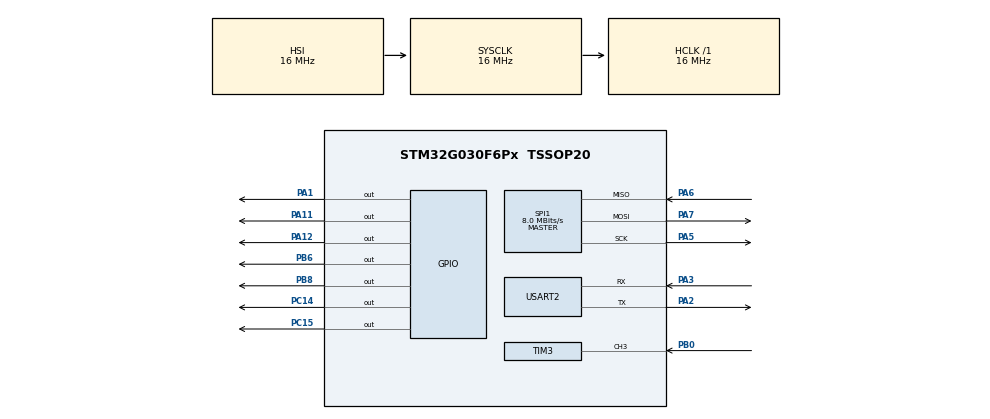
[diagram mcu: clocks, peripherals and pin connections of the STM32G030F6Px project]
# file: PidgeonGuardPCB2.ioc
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Mcu.Family=STM32G0
Mcu.Name=STM32G030F6Px
Mcu.Package=TSSOP20
NVIC.TIM3_IRQn=true\:0\:0\:false\:false\:true\:true\:true\:true
PA0.Mode=SYS_WakeUp0
PA0.Signal=SYS_WKUP1
PA1.Signal=GPIO_Output
PA11\ [PA9].Signal=GPIO_Output
PA12\ [PA10].Signal=GPIO_Output
PA13.Mode=Serial_Wire
PA13.Signal=SYS_SWDIO
PA14-BOOT0.Mode=Serial_Wire
PA14-BOOT0.Signal=SYS_SWCLK
PA14-BOOT0__PA15.StandardMode=true
PA2.Mode=Asynchronous
PA2.Signal=USART2_TX
PA3.Mode=Asynchronous
PA3.Signal=USART2_RX
PA4.Signal=SPI1_NSS
PA5.Mode=Full_Duplex_Master
PA5.Signal=SPI1_SCK
PA6.Mode=Full_Duplex_Master
PA6.Signal=SPI1_MISO
PA7.Mode=Full_Duplex_Master
PA7.Signal=SPI1_MOSI
PB0.Signal=S_TIM3_CH3
PB0__PB1__PB2__PA8.StandardMode=true
PB3__PB4__PB5__PB6.StandardMode=true
PB6.Signal=GPIO_Output
PB7__PB8.StandardMode=true
PB8.Signal=GPIO_Output
PC14-OSC32_IN\ (PC14).Signal=GPIO_Output
PC14-OSC32_IN\ (PC14)__PB9.StandardMode=true
PC15-OSC32_OUT\ (PC15).Signal=GPIO_Output
ProjectManager.HeapSize=0x200
ProjectManager.StackSize=0x400
ProjectManager.TargetToolchain=STM32CubeIDE
RCC.ADCFreq_Value=16000000
RCC.AHBFreq_Value=16000000
RCC.CortexFreq_Value=16000000
RCC.EXTERNAL_CLOCK_VALUE=12288000
RCC.HCLKFreq_Value=16000000
RCC.HSE_VALUE=8000000
RCC.HSI_VALUE=16000000
RCC.LSE_VALUE=32768
RCC.SYSCLKFreq_VALUE=16000000
RCC.VCOOutputFreq_Value=128000000
SH.S_TIM3_CH3.0=TIM3_CH3,Input_Capture3_from_TI3
SPI1.CalculateBaudRate=8.0 MBits/s
SPI1.Direction=SPI_DIRECTION_2LINES
SPI1.Mode=SPI_MODE_MASTER
SPI1.VirtualType=VM_MASTER
TIM3.Channel-Input_Capture3_from_TI3=TIM_CHANNEL_3
TIM3.Prescaler=16-1
USART2.VirtualMode-Asynchronous=VM_ASYNC
VP_FATFS_VS_Generic.Mode=User_defined
VP_RTC_VS_RTC_Activate.Mode=RTC_Enabled
board=custom

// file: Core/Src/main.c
/* USER CODE BEGIN Header */
/**
  ******************************************************************************
  * @file           : main.c
  * @brief          : Main program body
  ******************************************************************************
  * @attention
  *
  * Copyright (c) 2026 STMicroelectronics.
  * All rights reserved.
  *
  * This software is licensed under terms that can be found in the LICENSE file
  * in the root directory of this software component.
  * If no LICENSE file comes with this software, it is provided AS-IS.
  *
  ******************************************************************************
  */
/* USER CODE END Header */
#include "main.h"
#include "app_fatfs.h"

/* USER CODE BEGIN Includes */
#include "stdio.h"
/* USER CODE END Includes */

/* USER CODE BEGIN PD */
#define DEBUG_FLAG

#define TIM3_MAX_VALUE  0x0000FFFFU
#define LOGS_BUFFER_MAX_VALUE 26U

#define SMOTOR124_PORT GPIOA
#define SMOTOR3_PORT GPIOB
#define SMOTOR_INI1_PIN GPIO_PIN_11
#define SMOTOR_INI2_PIN GPIO_PIN_12
#define SMOTOR_INI3_PIN GPIO_PIN_8
#define SMOTOR_INI4_PIN GPIO_PIN_1

#define PUMP_PORT GPIOC
#define PUMP_PIN GPIO_PIN_15

#define HC_TRIG_PORT GPIOB
#define HC_TRIG_PIN GPIO_PIN_6

#define PWR_INIT_PORT GPIOC
#define PWR_INIT_PIN GPIO_PIN_14
/* USER CODE END PD */

RTC_HandleTypeDef hrtc;

SPI_HandleTypeDef hspi1;

TIM_HandleTypeDef htim3;

UART_HandleTypeDef huart2;

/* USER CODE BEGIN PV */
RTC_TimeTypeDef sTime;
RTC_DateTypeDef sDate;

/* USER CODE END PV */

void SystemClock_Config(void);
static void MX_GPIO_Init(void);
static void MX_SPI1_Init(void);
static void MX_USART2_UART_Init(void);
static void MX_RTC_Init(void);
static void MX_TIM3_Init(void);
/* USER CODE BEGIN PFP */

static void peripheralsOn(void);
static void peripheralsOff(void);
static void sprayWater(void);

static void logToSD(char logBuffer[]);

static void controlSMotor(int32_t stepNumber, uint8_t direction);
static void startDistanceMeasurement(void);
static void scanRight(void);	// ???
static void scanLeft(void);	// ???
static void calibrateDistance(void);
static void lookForTarget(void);
static void calculateDistance(void);

/* USER CODE END PFP */

/* USER CODE BEGIN 0 */
volatile uint32_t l_hcrs04Ticks1, l_hcrs04Ticks2;
volatile uint8_t l_hcrs04TimeCaptured = 0;
volatile uint32_t distance_L;

uint8_t message[64];
uint32_t mappedSourrounding[60];

FATFS FatFs;
FIL Fil;
FRESULT FR_Status;
FATFS *FS_Ptr;
UINT RWC, WWC; // Read/Write Word Counter
DWORD FreeClusters;
uint32_t TotalSize, FreeSpace;
char RW_Buffer[200];

/* USER CODE END 0 */

int main(void)
{

  /* MCU Configuration--------------------------------------------------------*/

  /* Reset of all peripherals, Initializes the Flash interface and the Systick. */
  HAL_Init();

  /* Configure the system clock */
  SystemClock_Config();

  /* Initialize all configured peripherals */
  MX_GPIO_Init();
  MX_SPI1_Init();
  MX_USART2_UART_Init();
  if (MX_FATFS_Init() != APP_OK) {
    Error_Handler();
  }
  MX_RTC_Init();
  MX_TIM3_Init();
  /* USER CODE BEGIN 2 */

  // Enable interrupts for input capture timers for both HC-SR04
    HAL_TIM_IC_Start_IT(&htim3, TIM_CHANNEL_3);	// TODO: ten tim3?
    //HCSR04_Init(&htim3, GPIOC, GPIO_PIN_6);

    HAL_NVIC_EnableIRQ(TIM3_IRQn);

    HAL_PWR_EnableWakeUpPin(PWR_WAKEUP_PIN1_LOW);	// TODO: ten pin?

  /* USER CODE END 2 */

  /* Infinite loop */
  /* USER CODE BEGIN WHILE */

    //SD_Card_Test();
    //HCSR04_Init(&htim3, GPIOC, GPIO_PIN_6);
  if(HAL_RTCEx_BKUPRead(&hrtc, RTC_BKP_DR1) != 0xBEEF){
    sTime.Hours = 21;
    sTime.Minutes = 37;
    sTime.Seconds = 0;

    HAL_RTC_SetTime(&hrtc, &sTime, RTC_FORMAT_BIN);

    sDate.WeekDay = RTC_WEEKDAY_MONDAY;
    sDate.Month = RTC_MONTH_APRIL;
    sDate.Date = 8;
    sDate.Year = 26;

    HAL_RTC_SetDate(&hrtc, &sDate, RTC_FORMAT_BIN);

    HAL_RTCEx_BKUPWrite(&hrtc, RTC_BKP_DR1, 0xBEEF);
  }

  peripheralsOn();
  HAL_Delay(10);	// wait for power to stabilize

  logToSD("WKUP:");
  calibrateDistance();	// TODO: Calibration should be done only once

  while (1)
  {
	  /*
	   * 	---- 1
	   * 	1) Power on
	   * 	2) Set STM RTC Time
	   * 	3) Powet on periferies
	   * 	4) Calibrate
	   * 	5) Save logs
	   * 	6) Check for target + shoot + loogs
	   * 	7) No target = power of periferies + STOP mode
	   * 	---- 2
	   * 	8) Power on Periferies
	   * 	9) Look for target
	   * 	10) Power of + STOP mode
	   *
	   */

	  	lookForTarget();

	  	__HAL_PWR_CLEAR_FLAG(PWR_FLAG_WUF1);
	  	__HAL_PWR_CLEAR_FLAG(PWR_FLAG_SB);

		logToSD("STOPMODE:");

		peripheralsOff();
		HAL_Delay(10);
	  	HAL_PWR_EnterSTANDBYMode();
    /* USER CODE END WHILE */

  }
}

void SystemClock_Config(void)
{
  RCC_OscInitTypeDef RCC_OscInitStruct = {0};
  RCC_ClkInitTypeDef RCC_ClkInitStruct = {0};

  /** Configure the main internal regulator output voltage
  */
  HAL_PWREx_ControlVoltageScaling(PWR_REGULATOR_VOLTAGE_SCALE1);

  /** Initializes the RCC Oscillators according to the specified parameters
  * in the RCC_OscInitTypeDef structure.
  */
  RCC_OscInitStruct.OscillatorType = RCC_OSCILLATORTYPE_HSI|RCC_OSCILLATORTYPE_LSI;
  RCC_OscInitStruct.HSIState = RCC_HSI_ON;
  RCC_OscInitStruct.HSIDiv = RCC_HSI_DIV1;
  RCC_OscInitStruct.HSICalibrationValue = RCC_HSICALIBRATION_DEFAULT;
  RCC_OscInitStruct.LSIState = RCC_LSI_ON;
  RCC_OscInitStruct.PLL.PLLState = RCC_PLL_NONE;
  if (HAL_RCC_OscConfig(&RCC_OscInitStruct) != HAL_OK)
  {
    Error_Handler();
  }

  /** Initializes the CPU, AHB and APB buses clocks
  */
  RCC_ClkInitStruct.ClockType = RCC_CLOCKTYPE_HCLK|RCC_CLOCKTYPE_SYSCLK
                              |RCC_CLOCKTYPE_PCLK1;
  RCC_ClkInitStruct.SYSCLKSource = RCC_SYSCLKSOURCE_HSI;
  RCC_ClkInitStruct.AHBCLKDivider = RCC_SYSCLK_DIV1;
  RCC_ClkInitStruct.APB1CLKDivider = RCC_HCLK_DIV1;

  if (HAL_RCC_ClockConfig(&RCC_ClkInitStruct, FLASH_LATENCY_0) != HAL_OK)
  {
    Error_Handler();
  }
}

static void MX_RTC_Init(void)
{

  /** Initialize RTC Only
  */
  hrtc.Instance = RTC;
  hrtc.Init.HourFormat = RTC_HOURFORMAT_24;
  hrtc.Init.AsynchPrediv = 127;
  hrtc.Init.SynchPrediv = 255;
  hrtc.Init.OutPut = RTC_OUTPUT_DISABLE;
  hrtc.Init.OutPutRemap = RTC_OUTPUT_REMAP_NONE;
  hrtc.Init.OutPutPolarity = RTC_OUTPUT_POLARITY_HIGH;
  hrtc.Init.OutPutType = RTC_OUTPUT_TYPE_OPENDRAIN;
  hrtc.Init.OutPutPullUp = RTC_OUTPUT_PULLUP_NONE;
  if (HAL_RTC_Init(&hrtc) != HAL_OK)
  {
    Error_Handler();
  }

}

static void MX_SPI1_Init(void)
{

  /* SPI1 parameter configuration*/
  hspi1.Instance = SPI1;
  hspi1.Init.Mode = SPI_MODE_MASTER;
  hspi1.Init.Direction = SPI_DIRECTION_2LINES;
  hspi1.Init.DataSize = SPI_DATASIZE_8BIT;
  hspi1.Init.CLKPolarity = SPI_POLARITY_LOW;
  hspi1.Init.CLKPhase = SPI_PHASE_1EDGE;
  hspi1.Init.NSS = SPI_NSS_SOFT;
  hspi1.Init.BaudRatePrescaler = SPI_BAUDRATEPRESCALER_2;
  hspi1.Init.FirstBit = SPI_FIRSTBIT_MSB;
  hspi1.Init.TIMode = SPI_TIMODE_DISABLE;
  hspi1.Init.CRCCalculation = SPI_CRCCALCULATION_DISABLE;
  hspi1.Init.CRCPolynomial = 7;
  hspi1.Init.CRCLength = SPI_CRC_LENGTH_DATASIZE;
  hspi1.Init.NSSPMode = SPI_NSS_PULSE_ENABLE;
  if (HAL_SPI_Init(&hspi1) != HAL_OK)
  {
    Error_Handler();
  }

}

static void MX_TIM3_Init(void)
{

  TIM_MasterConfigTypeDef sMasterConfig = {0};
  TIM_IC_InitTypeDef sConfigIC = {0};

  htim3.Instance = TIM3;
  htim3.Init.Prescaler = 16-1;
  htim3.Init.CounterMode = TIM_COUNTERMODE_UP;
  htim3.Init.Period = 65535;
  htim3.Init.ClockDivision = TIM_CLOCKDIVISION_DIV1;
  htim3.Init.AutoReloadPreload = TIM_AUTORELOAD_PRELOAD_DISABLE;
  if (HAL_TIM_IC_Init(&htim3) != HAL_OK)
  {
    Error_Handler();
  }
  sMasterConfig.MasterOutputTrigger = TIM_TRGO_RESET;
  sMasterConfig.MasterSlaveMode = TIM_MASTERSLAVEMODE_DISABLE;
  if (HAL_TIMEx_MasterConfigSynchronization(&htim3, &sMasterConfig) != HAL_OK)
  {
    Error_Handler();
  }
  sConfigIC.ICPolarity = TIM_INPUTCHANNELPOLARITY_RISING;
  sConfigIC.ICSelection = TIM_ICSELECTION_DIRECTTI;
  sConfigIC.ICPrescaler = TIM_ICPSC_DIV1;
  sConfigIC.ICFilter = 0;
  if (HAL_TIM_IC_ConfigChannel(&htim3, &sConfigIC, TIM_CHANNEL_3) != HAL_OK)
  {
    Error_Handler();
  }

}

static void MX_USART2_UART_Init(void)
{

  huart2.Instance = USART2;
  huart2.Init.BaudRate = 115200;
  huart2.Init.WordLength = UART_WORDLENGTH_8B;
  huart2.Init.StopBits = UART_STOPBITS_1;
  huart2.Init.Parity = UART_PARITY_NONE;
  huart2.Init.Mode = UART_MODE_TX_RX;
  huart2.Init.HwFlowCtl = UART_HWCONTROL_NONE;
  huart2.Init.OverSampling = UART_OVERSAMPLING_16;
  huart2.Init.OneBitSampling = UART_ONE_BIT_SAMPLE_DISABLE;
  huart2.Init.ClockPrescaler = UART_PRESCALER_DIV1;
  huart2.AdvancedInit.AdvFeatureInit = UART_ADVFEATURE_NO_INIT;
  if (HAL_UART_Init(&huart2) != HAL_OK)
  {
    Error_Handler();
  }

}

static void MX_GPIO_Init(void)
{
  GPIO_InitTypeDef GPIO_InitStruct = {0};

  /* GPIO Ports Clock Enable */
  __HAL_RCC_GPIOB_CLK_ENABLE();
  __HAL_RCC_GPIOC_CLK_ENABLE();
  __HAL_RCC_GPIOA_CLK_ENABLE();

  /*Configure GPIO pin Output Level */
  HAL_GPIO_WritePin(GPIOB, GPIO_PIN_8|GPIO_PIN_6, GPIO_PIN_RESET);

  /*Configure GPIO pin Output Level */
  HAL_GPIO_WritePin(GPIOC, GPIO_PIN_14|GPIO_PIN_15, GPIO_PIN_RESET);

  /*Configure GPIO pin Output Level */
  HAL_GPIO_WritePin(GPIOA, GPIO_PIN_1|GPIO_PIN_11|GPIO_PIN_12, GPIO_PIN_RESET);

  /*Configure GPIO pins : PB8 PB6 */
  GPIO_InitStruct.Pin = GPIO_PIN_8|GPIO_PIN_6;
  GPIO_InitStruct.Mode = GPIO_MODE_OUTPUT_PP;
  GPIO_InitStruct.Pull = GPIO_NOPULL;
  GPIO_InitStruct.Speed = GPIO_SPEED_FREQ_LOW;
  HAL_GPIO_Init(GPIOB, &GPIO_InitStruct);

  /*Configure GPIO pins : PC14 PC15 */
  GPIO_InitStruct.Pin = GPIO_PIN_14|GPIO_PIN_15;
  GPIO_InitStruct.Mode = GPIO_MODE_OUTPUT_PP;
  GPIO_InitStruct.Pull = GPIO_NOPULL;
  GPIO_InitStruct.Speed = GPIO_SPEED_FREQ_LOW;
  HAL_GPIO_Init(GPIOC, &GPIO_InitStruct);

  /*Configure GPIO pins : PA1 PA11 PA12 */
  GPIO_InitStruct.Pin = GPIO_PIN_1|GPIO_PIN_11|GPIO_PIN_12;
  GPIO_InitStruct.Mode = GPIO_MODE_OUTPUT_PP;
  GPIO_InitStruct.Pull = GPIO_NOPULL;
  GPIO_InitStruct.Speed = GPIO_SPEED_FREQ_LOW;
  HAL_GPIO_Init(GPIOA, &GPIO_InitStruct);

}

/* USER CODE BEGIN 4 */

void peripheralsOn(void){
	HAL_GPIO_WritePin(PWR_INIT_PORT, PWR_INIT_PIN, GPIO_PIN_SET);
	#ifdef DEBUG_FLAG
		sprintf((char*)message, "HIGH\n");
		HAL_UART_Transmit(&huart2, message, strlen((char*)message), 1000);
	#endif
}

void peripheralsOff(void){
	HAL_GPIO_WritePin(PWR_INIT_PORT, PWR_INIT_PIN, GPIO_PIN_RESET);
	#ifdef DEBUG_FLAG
		sprintf((char*)message, "LOW\n");
		HAL_UART_Transmit(&huart2, message, strlen((char*)message), 1000);
	#endif
}

void sprayWater(void){
	HAL_GPIO_TogglePin(PUMP_PORT, PUMP_PIN);
	HAL_Delay(50);
	HAL_GPIO_TogglePin(PUMP_PORT, PUMP_PIN);
}

void startDistanceMeasurement(){
	  HAL_GPIO_WritePin(HC_TRIG_PORT, HC_TRIG_PIN, GPIO_PIN_SET);
	  HAL_Delay(10);
	  HAL_GPIO_WritePin(HC_TRIG_PORT, HC_TRIG_PIN, GPIO_PIN_RESET);
}

void calculateDistance(){

	if(l_hcrs04Ticks2 > l_hcrs04Ticks1){
		distance_L = l_hcrs04Ticks2 - l_hcrs04Ticks1;
	} else {
		distance_L = TIM3_MAX_VALUE - (l_hcrs04Ticks1 - l_hcrs04Ticks2);
	}

	#ifdef DEBUG_FLAG
		sprintf((char*)message, "DIST: %lu\n", distance_L);
		HAL_UART_Transmit(&huart2, message, strlen((char*)message), 1000);
	#endif
}

void controlSMotor(int32_t stepNumber, uint8_t direction){
	int32_t stepsPerformed = 0;
	if(direction == 0){
		while(stepNumber > stepsPerformed){	//	Turn Right
		switch (stepsPerformed % 4) {
		      case 0:  // 1010
		        HAL_GPIO_WritePin(SMOTOR124_PORT, SMOTOR_INI1_PIN, GPIO_PIN_SET);
		        HAL_GPIO_WritePin(SMOTOR124_PORT, SMOTOR_INI2_PIN, GPIO_PIN_RESET);
		        HAL_GPIO_WritePin(SMOTOR3_PORT, SMOTOR_INI3_PIN, GPIO_PIN_SET);
		        HAL_GPIO_WritePin(SMOTOR124_PORT, SMOTOR_INI4_PIN, GPIO_PIN_RESET);
		      break;
		      case 1:  // 0110
		        HAL_GPIO_WritePin(SMOTOR124_PORT, SMOTOR_INI1_PIN, GPIO_PIN_RESET);
		        HAL_GPIO_WritePin(SMOTOR124_PORT, SMOTOR_INI2_PIN, GPIO_PIN_SET);
		        HAL_GPIO_WritePin(SMOTOR3_PORT, SMOTOR_INI3_PIN, GPIO_PIN_SET);
		        HAL_GPIO_WritePin(SMOTOR124_PORT, SMOTOR_INI4_PIN, GPIO_PIN_RESET);
		      break;
		      case 2:  //0101
		        HAL_GPIO_WritePin(SMOTOR124_PORT, SMOTOR_INI1_PIN, GPIO_PIN_RESET);
		        HAL_GPIO_WritePin(SMOTOR124_PORT, SMOTOR_INI2_PIN, GPIO_PIN_SET);
		        HAL_GPIO_WritePin(SMOTOR3_PORT, SMOTOR_INI3_PIN, GPIO_PIN_RESET);
		        HAL_GPIO_WritePin(SMOTOR124_PORT, SMOTOR_INI4_PIN, GPIO_PIN_SET);
		      break;
		      case 3:  //1001
		        HAL_GPIO_WritePin(SMOTOR124_PORT, SMOTOR_INI1_PIN, GPIO_PIN_SET);
		        HAL_GPIO_WritePin(SMOTOR124_PORT, SMOTOR_INI2_PIN, GPIO_PIN_RESET);
		        HAL_GPIO_WritePin(SMOTOR3_PORT, SMOTOR_INI3_PIN, GPIO_PIN_RESET);
		        HAL_GPIO_WritePin(SMOTOR124_PORT, SMOTOR_INI4_PIN, GPIO_PIN_SET);
		      break;
		    }
		stepsPerformed++;
		HAL_Delay(5);
		}
	} else{
		while(stepNumber > stepsPerformed){	//	Turn Left
			switch ( stepNumber % 4) {
		      case 0:  // 1010
		        HAL_GPIO_WritePin(SMOTOR124_PORT, SMOTOR_INI1_PIN, GPIO_PIN_SET);
		        HAL_GPIO_WritePin(SMOTOR124_PORT, SMOTOR_INI2_PIN, GPIO_PIN_RESET);
		        HAL_GPIO_WritePin(SMOTOR3_PORT, SMOTOR_INI3_PIN, GPIO_PIN_SET);
		        HAL_GPIO_WritePin(SMOTOR124_PORT, SMOTOR_INI4_PIN, GPIO_PIN_RESET);
		      break;
		      case 1:  // 0110
		        HAL_GPIO_WritePin(SMOTOR124_PORT, SMOTOR_INI1_PIN, GPIO_PIN_RESET);
		        HAL_GPIO_WritePin(SMOTOR124_PORT, SMOTOR_INI2_PIN, GPIO_PIN_SET);
		        HAL_GPIO_WritePin(SMOTOR3_PORT, SMOTOR_INI3_PIN, GPIO_PIN_SET);
		        HAL_GPIO_WritePin(SMOTOR124_PORT, SMOTOR_INI4_PIN, GPIO_PIN_RESET);
		      break;
		      case 2:  //0101
		        HAL_GPIO_WritePin(SMOTOR124_PORT, SMOTOR_INI1_PIN, GPIO_PIN_RESET);
		        HAL_GPIO_WritePin(SMOTOR124_PORT, SMOTOR_INI2_PIN, GPIO_PIN_SET);
		        HAL_GPIO_WritePin(SMOTOR3_PORT, SMOTOR_INI3_PIN, GPIO_PIN_RESET);
		        HAL_GPIO_WritePin(SMOTOR124_PORT, SMOTOR_INI4_PIN, GPIO_PIN_SET);
		      break;
		      case 3:  //1001
		        HAL_GPIO_WritePin(SMOTOR124_PORT, SMOTOR_INI1_PIN, GPIO_PIN_SET);
		        HAL_GPIO_WritePin(SMOTOR124_PORT, SMOTOR_INI2_PIN, GPIO_PIN_RESET);
		        HAL_GPIO_WritePin(SMOTOR3_PORT, SMOTOR_INI3_PIN, GPIO_PIN_RESET);
		        HAL_GPIO_WritePin(SMOTOR124_PORT, SMOTOR_INI4_PIN, GPIO_PIN_SET);
		      break;
			    }
			stepNumber--;
		HAL_Delay(5);
		}
	}
}

void calibrateDistance(){

	uint8_t oneStep = 12;
	uint8_t numberOfMeasurements = 60;

	startDistanceMeasurement();
	HAL_Delay(5);		// delay and second measurement to make sure that first measured value isn't trash
	startDistanceMeasurement();
	calculateDistance();
	mappedSourrounding[0] = distance_L;

	for(uint8_t i = 0; i < numberOfMeasurements; ){

		controlSMotor(oneStep, 0);

		startDistanceMeasurement();
		calculateDistance();
		i++;

		mappedSourrounding[i] = distance_L;
	}

	controlSMotor(720, 1); // Return to the max left side of sensor sight

	#ifdef DEBUG_FLAG
		sprintf((char*)message, "Calibration Completed.\n");
		HAL_UART_Transmit(&huart2, message, strlen((char*)message), 1000);
	#endif
}

void scanRight(){

}

void scanLeft(){

}

void lookForTarget(){
	uint8_t oneStep = 12;
	uint8_t numberOfMeasurements = 60;
	uint8_t measurementsTaken = 0;

	uint8_t logger = 0;

	for(uint8_t i = 0; i<4; i++ ){ // Repeat full scanning 4 times	// TODO: zamienić 4 na #define

		for(; measurementsTaken < numberOfMeasurements; ){

				startDistanceMeasurement();
				calculateDistance();

				uint32_t supposedValue = mappedSourrounding[measurementsTaken];

				controlSMotor(oneStep, 0);
				measurementsTaken++;

				logger = 0;

				while(distance_L + 1000 < supposedValue){	// TODO: zamienić 1000 na #define

					if(logger == 0){	// Save to logs that shooting happened
						logToSD("SHOOT:");
						logger = 1;
					}

					sprayWater();

					uint32_t lastDistance = distance_L;

					startDistanceMeasurement();
					calculateDistance();

					if(lastDistance - 70 > distance_L){

						lastDistance = distance_L;

						controlSMotor(oneStep, 0);
						sprayWater();
						startDistanceMeasurement();
						calculateDistance();

						measurementsTaken++;

					} else if(lastDistance + 70 < distance_L){	// TODO: zamienić 70 na #define

						lastDistance = distance_L;

						controlSMotor(oneStep, 1);
						sprayWater();

						startDistanceMeasurement();
						calculateDistance();

						measurementsTaken--;
					} else{
						// ERROR???
						// TODO: not an error just a target didn't move so repeat shooting - > return to the beginning of a while loop
					}
				}

			}

		if(measurementsTaken == 60){ // If sensor reached max right side turn direction // TODO: zamienić 60 na #define

			for(; measurementsTaken > 0; ){

				startDistanceMeasurement();
				calculateDistance();

				uint32_t supposedValue = mappedSourrounding[measurementsTaken];

				controlSMotor(oneStep, 1);
				measurementsTaken--;

				logger = 0;

				while(distance_L + 1000 < supposedValue){

					if(logger == 0){	// Save to logs that shooting happened
						logToSD("SHOOT:");
						logger = 1;
					}

					sprayWater();

					uint32_t lastDistance = distance_L;

					startDistanceMeasurement();
					calculateDistance();

					if(lastDistance - 70 > distance_L){

						lastDistance = distance_L;

						controlSMotor(oneStep, 1);
						sprayWater();

						startDistanceMeasurement();
						calculateDistance();

						measurementsTaken--;

					} else if(lastDistance < distance_L - 70){

						lastDistance = distance_L;

						controlSMotor(oneStep, 0);
						sprayWater();

						startDistanceMeasurement();
						calculateDistance();

						measurementsTaken++;
					} else{
						// ERROR???
					}
				}

			}
		}

		if(measurementsTaken > 60){
			measurementsTaken = 0;	// If some error appears and the function is stuck, zero the counter
		}

	}
}

void logToSD(char logBuffer[]){

	HAL_RTC_GetTime(&hrtc, &sTime, RTC_FORMAT_BIN);
	HAL_RTC_GetDate(&hrtc, &sDate, RTC_FORMAT_BIN);

	sprintf(RW_Buffer, "%s %02d-%02d-20%02d %02d:%02d:%02d\r\n", logBuffer,
	sDate.Date,
	sDate.Month,
	sDate.Year,
	sTime.Hours,
	sTime.Minutes,
	sTime.Seconds);

	FR_Status = f_mount(&FatFs, "", 1);

	#ifdef DEBUG_FLAG
	if (FR_Status != FR_OK)
	{
		sprintf((char*)message, "\r\nError! While Mounting SD Card, Error Code: (%i)\r\n", FR_Status);
		HAL_UART_Transmit(&huart2, message, strlen((char*)message), 1000);
	}
	#endif

	FR_Status = f_open(&Fil, "TextFileWrite.txt", FA_WRITE | FA_READ);

	#ifdef DEBUG_FLAG
	if (FR_Status != FR_OK)
	{
		sprintf((char*)message, "\r\nError! While Opening File: (%i)\r\n", FR_Status);
		HAL_UART_Transmit(&huart2, message, strlen((char*)message), 1000);
	}
	#endif

	f_lseek(&Fil, f_size(&Fil));
	f_puts(RW_Buffer, &Fil);
	f_close(&Fil);
	f_mount(NULL, "", 0);

#ifdef DEBUG_FLAG
	HAL_UART_Transmit(&huart2, RW_Buffer, strlen((char*)RW_Buffer), 1000);
#endif
}

//Timer input capture from HCSR04 sensors
void HAL_TIM_IC_CaptureCallback(TIM_HandleTypeDef *htim){
#ifdef DEBUG_FLAG
	sprintf((char*)message, "IRQ\n");
	HAL_UART_Transmit(&huart2, message, strlen((char*)message), 1000);
#endif
	// Left HCSR04 sensor response
	if (htim->Channel == HAL_TIM_ACTIVE_CHANNEL_3){	//CH3 = TIM2

	        if (l_hcrs04TimeCaptured == 0){	// First echo pin slope?
	        	l_hcrs04Ticks1 = HAL_TIM_ReadCapturedValue(htim, TIM_CHANNEL_3);	// capture sensor echo pin Rising Edge

	        	l_hcrs04TimeCaptured = 1;	// next time capture second echo pin slope
	            __HAL_TIM_SET_CAPTUREPOLARITY(htim, TIM_CHANNEL_3, TIM_INPUTCHANNELPOLARITY_FALLING);	// Set capturing Falling Edge
	        } else{

	        	l_hcrs04Ticks2 = HAL_TIM_ReadCapturedValue(htim, TIM_CHANNEL_3); // capture sensor echo pin Falling Edge

	        	l_hcrs04TimeCaptured = 0;	// next time capture first echo pin slope
	            __HAL_TIM_SET_CAPTUREPOLARITY(htim, TIM_CHANNEL_3, TIM_INPUTCHANNELPOLARITY_RISING);	// capture sensor echo pin Rising Edge
	        }
		}
}

/* USER CODE END 4 */

void Error_Handler(void)
{
  __disable_irq();
  while (1)
  {
  }
}
